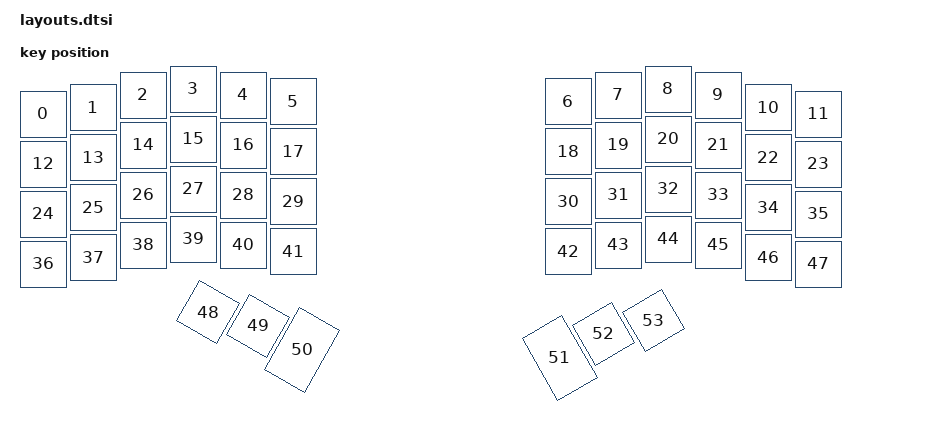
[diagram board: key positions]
#include <physical_layouts.dtsi>

/ {
    cygnus_layout: cygnus_layout {
        compatible = "zmk,physical-layout";
        display-name = "Cygnus";

        keys  //                     w   h    x    y     rot    rx    ry
            = <&key_physical_attrs 100 100    0   50       0     0     0>
            , <&key_physical_attrs 100 100  100   37       0     0     0>
            , <&key_physical_attrs 100 100  200   12       0     0     0>
            , <&key_physical_attrs 100 100  300    0       0     0     0>
            , <&key_physical_attrs 100 100  400   12       0     0     0>
            , <&key_physical_attrs 100 100  500   25       0     0     0>
            , <&key_physical_attrs 100 100 1050   25       0     0     0>
            , <&key_physical_attrs 100 100 1150   12       0     0     0>
            , <&key_physical_attrs 100 100 1250    0       0     0     0>
            , <&key_physical_attrs 100 100 1350   12       0     0     0>
            , <&key_physical_attrs 100 100 1450   37       0     0     0>
            , <&key_physical_attrs 100 100 1550   50       0     0     0>
            , <&key_physical_attrs 100 100    0  150       0     0     0>
            , <&key_physical_attrs 100 100  100  137       0     0     0>
            , <&key_physical_attrs 100 100  200  112       0     0     0>
            , <&key_physical_attrs 100 100  300  100       0     0     0>
            , <&key_physical_attrs 100 100  400  112       0     0     0>
            , <&key_physical_attrs 100 100  500  125       0     0     0>
            , <&key_physical_attrs 100 100 1050  125       0     0     0>
            , <&key_physical_attrs 100 100 1150  112       0     0     0>
            , <&key_physical_attrs 100 100 1250  100       0     0     0>
            , <&key_physical_attrs 100 100 1350  112       0     0     0>
            , <&key_physical_attrs 100 100 1450  137       0     0     0>
            , <&key_physical_attrs 100 100 1550  150       0     0     0>
            , <&key_physical_attrs 100 100    0  250       0     0     0>
            , <&key_physical_attrs 100 100  100  237       0     0     0>
            , <&key_physical_attrs 100 100  200  212       0     0     0>
            , <&key_physical_attrs 100 100  300  200       0     0     0>
            , <&key_physical_attrs 100 100  400  212       0     0     0>
            , <&key_physical_attrs 100 100  500  225       0     0     0>
            , <&key_physical_attrs 100 100 1050  225       0     0     0>
            , <&key_physical_attrs 100 100 1150  212       0     0     0>
            , <&key_physical_attrs 100 100 1250  200       0     0     0>
            , <&key_physical_attrs 100 100 1350  212       0     0     0>
            , <&key_physical_attrs 100 100 1450  237       0     0     0>
            , <&key_physical_attrs 100 100 1550  250       0     0     0>
            , <&key_physical_attrs 100 100    0  350       0     0     0>
            , <&key_physical_attrs 100 100  100  337       0     0     0>
            , <&key_physical_attrs 100 100  200  312       0     0     0>
            , <&key_physical_attrs 100 100  300  300       0     0     0>
            , <&key_physical_attrs 100 100  400  312       0     0     0>
            , <&key_physical_attrs 100 100  500  325       0     0     0>
            , <&key_physical_attrs 100 100 1050  325       0     0     0>
            , <&key_physical_attrs 100 100 1150  312       0     0     0>
            , <&key_physical_attrs 100 100 1250  300       0     0     0>
            , <&key_physical_attrs 100 100 1350  312       0     0     0>
            , <&key_physical_attrs 100 100 1450  337       0     0     0>
            , <&key_physical_attrs 100 100 1550  350       0     0     0>
            , <&key_physical_attrs 100 100  350  425    3000   350   450>
            , <&key_physical_attrs 100 100  350  425    3000   350   650>
            , <&key_physical_attrs 100 150  350  425    3000   350   850>
            , <&key_physical_attrs 100 150 1200  415 (-3000)  1350   850>
            , <&key_physical_attrs 100 100 1200  415 (-3000)  1350   650>
            , <&key_physical_attrs 100 100 1200  415 (-3000)  1350   450>
            ;
    };
};
